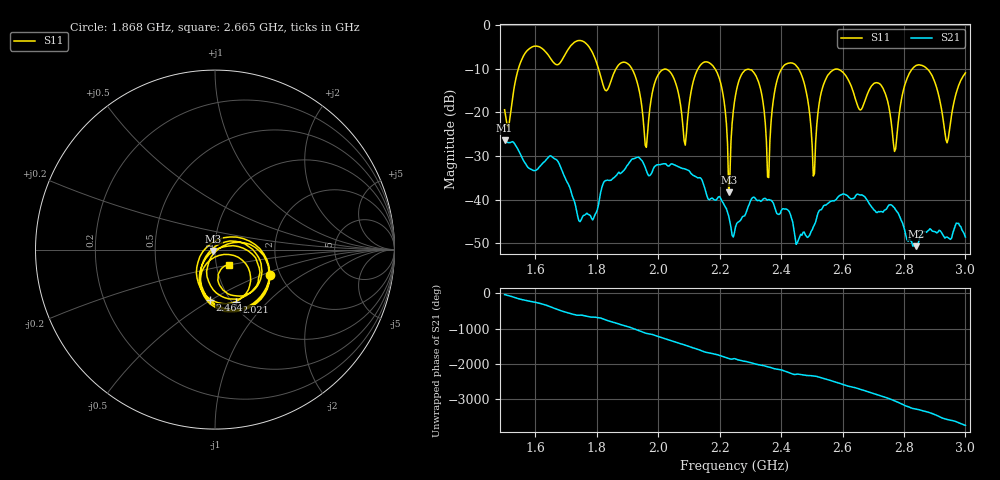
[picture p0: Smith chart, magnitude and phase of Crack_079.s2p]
# HZ S RI R 50
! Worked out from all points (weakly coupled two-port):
!   404 points, 1.5 GHz to 3 GHz, reference 50 ohm
!   highest |S21| = -26.41 dB at 1.5 GHz (marker M1); lowest = -50.6 dB at 2.84 GHz (marker M2)
!   lowest |S11| = -38.3 dB at 2.23 GHz (marker M3), VSWR 1.02, Z = 49.1 - j0.782 ohm
!   |S11| at or under -10 dB: 1.914 GHz to 2.13 GHz (215.9 MHz wide, 10.7 % of centre); 2.184 GHz to 2.402 GHz (217.8 MHz wide, 9.5 % of centre); 2.457 GHz to 2.828 GHz (371.1 MHz wide, 14 % of centre) (the widest 3 of 6)
!   S12 and S22 are empty: the file has one direction only
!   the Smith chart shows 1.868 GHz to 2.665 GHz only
!   S11 on the Smith chart (normalised r, x): 1.868 GHz: 1.77, -0.57; 2.021 GHz: 1.04, -0.67; 2.464 GHz: 0.81, -0.49; 2.665 GHz: 1.15, -0.20
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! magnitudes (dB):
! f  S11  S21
! 1.5 GHz  -19.4  -26.4
! 1.753 GHz  -3.7  -44.0
! 1.868 GHz  -9.4  -34.0
! 1.962 GHz  -28.0  -33.4
! 2.002 GHz  -11.1  -32.0
! 2.021 GHz  -10.1  -31.8
! 2.088 GHz  -27.5  -33.0
! 2.181 GHz  -9.7  -40.0
! 2.23 GHz  -38.3  -43.8
! 2.252 GHz  -16.0  -46.2
! 2.315 GHz  -11.3  -39.6
! 2.36 GHz  -34.9  -40.0
! 2.397 GHz  -10.7  -43.2
! 2.464 GHz  -11.0  -47.9
! 2.501 GHz  -27.6  -46.9
! 2.565 GHz  -10.6  -40.3
! 2.665 GHz  -18.9  -39.0
! 2.751 GHz  -18.6  -41.2
! 2.773 GHz  -28.3  -42.3
! 2.84 GHz  -9.3  -50.6
! 2.94 GHz  -27.0  -48.5
! 3 GHz  -11.0  -48.5
